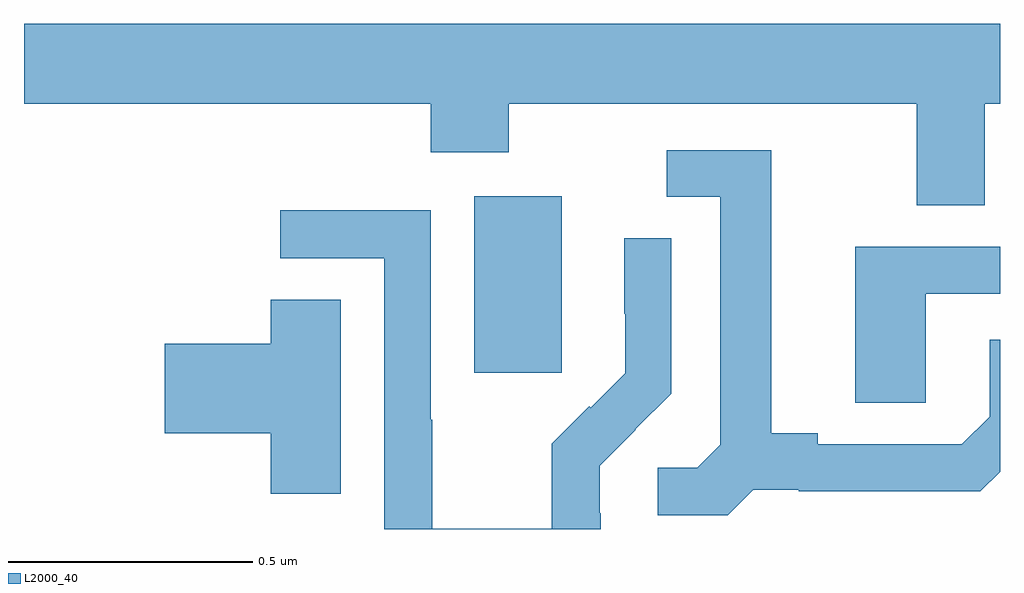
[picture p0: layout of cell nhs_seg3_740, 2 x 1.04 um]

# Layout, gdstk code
import gdstk
lib = gdstk.Library(unit=1e-6, precision=1e-09)
def R(c, l, rs):  # rectangles x0, y0, x1, y1
    for r in rs: c.add(gdstk.rectangle(r[:2], r[2:], *l))
def P(c, l, *ps):  # polygons
    for p in ps: c.add(gdstk.Polygon(p, *l))
L2000_40 = (2000, 40)

nhs_seg3_740 = lib.new_cell('nhs_seg3_740')
R(nhs_seg3_740, L2000_40, [(120.923,677.721,121.102,678.082)])
P(nhs_seg3_740, L2000_40, [(121.969,678.272),(122,678.272),(122,678.436),(120,678.436),(120,678.272),(120.833,678.272),(120.833,678.173),(120.993,678.173),(120.993,678.272),(121.829,678.272),(121.829,678.064),(121.969,678.064)],
  [(121.494,677.481),(121.588,677.481),(121.588,677.478),(121.96,677.478),(122,677.518),(122,677.788),(121.979,677.788),(121.979,677.631),(121.922,677.574),(121.627,677.574),(121.627,677.597),(121.531,677.597),(121.531,678.177),(121.317,678.177),(121.317,678.081),(121.427,678.081),(121.427,677.573),(121.38,677.526),(121.299,677.526),(121.299,677.429),(121.442,677.429)],
  [(121.182,677.433),(121.18,677.433),(121.18,677.53),(121.254,677.604),(121.253,677.605),(121.326,677.678),(121.326,677.996),(121.23,677.996),(121.23,677.842),(121.232,677.842),(121.232,677.72),(121.161,677.649),(121.158,677.652),(121.081,677.575),(121.081,677.401),(120.837,677.401),(120.837,677.624),(120.834,677.624),(120.834,678.054),(120.525,678.054),(120.525,677.955),(120.738,677.955),(120.738,677.4),(121.182,677.4)],
  [(121.848,677.883),(122,677.883),(122,677.979),(121.703,677.979),(121.703,677.659),(121.848,677.659)],
  [(120.649,677.87),(120.506,677.87),(120.506,677.78),(120.288,677.78),(120.288,677.597),(120.506,677.597),(120.506,677.473),(120.649,677.473)])

lib.write_gds('nhs_seg3_740.gds')
